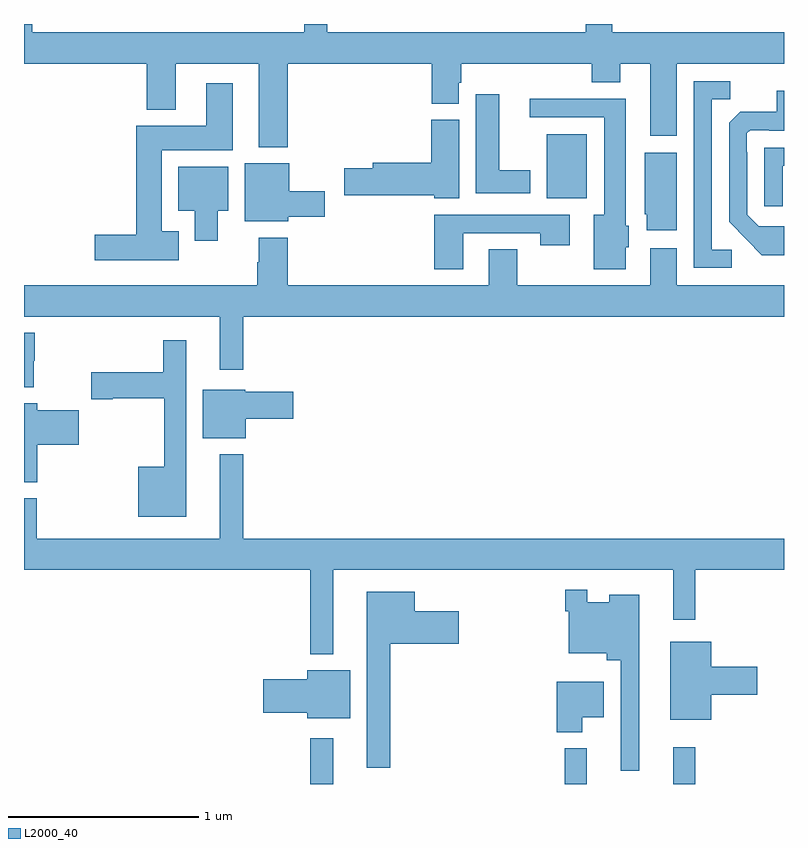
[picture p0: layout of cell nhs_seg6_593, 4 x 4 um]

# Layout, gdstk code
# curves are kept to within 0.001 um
import gdstk
lib = gdstk.Library(unit=1e-6, precision=1e-09)
def R(c, l, rs):  # rectangles x0, y0, x1, y1
    for r in rs: c.add(gdstk.rectangle(r[:2], r[2:], *l))
def P(c, l, *ps):  # polygons
    for p in ps: c.add(gdstk.Polygon(p, *l))
L2000_40 = (2000, 40)

nhs_seg6_593 = lib.new_cell('nhs_seg6_593')
R(nhs_seg6_593, L2000_40, [(148.506,987.5,148.627,987.742), (149.845,987.5,149.963,987.688), (150.416,987.5,150.533,987.694), (149.75,990.584,149.962,990.919)])
P(nhs_seg6_593, L2000_40, [(148.388,991.292),(149.147,991.292),(149.147,991.081),(149.287,991.081),(149.287,991.191),(149.3,991.191),(149.3,991.292),(149.987,991.292),(149.987,991.193),(150.139,991.193),(150.139,991.292),(150.296,991.292),(150.296,990.912),(150.436,990.912),(150.436,991.292),(151,991.292),(151,991.456),(150.097,991.456),(150.097,991.5),(149.957,991.5),(149.957,991.456),(148.597,991.456),(148.597,991.5),(148.475,991.5),(148.475,991.456),(147.044,991.456),(147.044,991.5),(147,991.5),(147,991.292),(147.647,991.292),(147.647,991.049),(147.799,991.049),(147.799,991.292),(148.235,991.292),(148.235,990.851),(148.388,990.851)],
  [(150.724,990.312),(150.621,990.312),(150.621,991.105),(150.717,991.105),(150.717,991.2),(150.525,991.2),(150.525,990.216),(150.724,990.216)],
  [(147.814,990.409),(147.724,990.409),(147.724,990.836),(148.099,990.836),(148.099,991.189),(147.959,991.189),(147.959,990.964),(147.59,990.964),(147.59,990.392),(147.372,990.392),(147.372,990.257),(147.814,990.257)],
  [(151,990.436),(150.867,990.435),(150.807,990.495),(150.807,990.824),(150.804,990.824),(150.804,990.924),(150.822,990.942),(150.922,990.942),(150.922,990.938),(151,990.938),(151,991.15),(150.962,991.15),(150.962,991.039),(150.77,991.039),(150.711,990.98),(150.711,990.458),(150.883,990.284),(151,990.284)],
  [(149.665,990.73),(149.5,990.73),(149.5,991.129),(149.378,991.129),(149.378,990.608),(149.665,990.608)],
  [(150.166,990.324),(150.184,990.324),(150.184,990.438),(150.166,990.438),(150.166,991.106),(149.661,991.106),(149.661,991.008),(150.053,991.008),(150.053,990.496),(149.999,990.496),(149.999,990.21),(150.166,990.21)],
  [(149.29,990.996),(149.144,990.996),(149.144,990.77),(148.835,990.77),(148.835,990.74),(148.686,990.74),(148.686,990.598),(149.16,990.598),(149.16,990.584),(149.29,990.584)],
  [(150.993,990.753),(151,990.753),(151,990.849),(150.897,990.849),(150.897,990.54),(150.993,990.54)],
  [(150.436,990.823),(150.266,990.823),(150.266,990.498),(150.278,990.498),(150.278,990.414),(150.436,990.414)],
  [(148.392,990.485),(148.582,990.485),(148.582,990.62),(148.396,990.62),(148.396,990.766),(148.163,990.766),(148.163,990.461),(148.392,990.461)],
  [(148.021,990.518),(148.075,990.518),(148.075,990.748),(147.812,990.748),(147.812,990.518),(147.899,990.518),(147.899,990.36),(148.021,990.36)],
  [(149.311,990.399),(149.716,990.399),(149.716,990.336),(149.872,990.336),(149.872,990.495),(149.159,990.495),(149.159,990.21),(149.311,990.21)],
  [(148.153,989.96),(151,989.96),(151,990.124),(150.436,990.124),(150.436,990.319),(150.296,990.319),(150.296,990.124),(149.595,990.124),(149.595,990.314),(149.447,990.314),(149.447,990.124),(148.388,990.124),(148.388,990.376),(148.235,990.376),(148.235,990.245),(148.228,990.245),(148.228,990.124),(147,990.124),(147,989.96),(148.031,989.96),(148.031,989.679),(148.153,989.679)],
  [(147.051,989.727),(147.056,989.727),(147.056,989.875),(147,989.875),(147,989.589),(147.051,989.589)],
  [(147.853,989.836),(147.732,989.836),(147.732,989.667),(147.354,989.667),(147.354,989.525),(147.466,989.525),(147.466,989.53),(147.739,989.53),(147.739,989.17),(147.602,989.17),(147.602,988.907),(147.853,988.907)],
  [(148.168,989.423),(148.417,989.423),(148.417,989.565),(148.164,989.565),(148.164,989.575),(147.941,989.575),(147.941,989.321),(148.168,989.321)],
  [(147.071,989.285),(147.289,989.285),(147.289,989.468),(147.071,989.468),(147.071,989.504),(147,989.504),(147,989.089),(147.071,989.089)],
  [(148.627,988.628),(150.416,988.628),(150.416,988.365),(150.533,988.365),(150.533,988.628),(151,988.628),(151,988.792),(148.153,988.792),(148.153,989.236),(148.031,989.236),(148.031,988.792),(147.068,988.792),(147.068,989.004),(147,989.004),(147,988.628),(148.506,988.628),(148.506,988.184),(148.627,988.184)],
  [(150.238,988.495),(150.08,988.495),(150.08,988.456),(149.964,988.456),(149.964,988.522),(149.848,988.522),(149.848,988.409),(149.868,988.409),(149.868,988.187),(150.068,988.187),(150.068,988.151),(150.141,988.151),(150.141,987.57),(150.238,987.57)],
  [(148.927,988.238),(149.287,988.238),(149.287,988.408),(149.056,988.408),(149.056,988.513),(148.805,988.513),(148.805,987.585),(148.927,987.585)],
  [(150.616,987.971),(150.859,987.971),(150.859,988.118),(150.616,988.118),(150.616,988.249),(150.401,988.249),(150.401,987.839),(150.616,987.839)],
  [(148.717,988.099),(148.49,988.099),(148.49,988.052),(148.26,988.052),(148.26,987.874),(148.49,987.874),(148.49,987.845),(148.717,987.845)],
  [(149.938,987.851),(150.052,987.851),(150.052,988.039),(149.804,988.039),(149.804,987.773),(149.938,987.773)])

lib.write_gds('nhs_seg6_593.gds')
